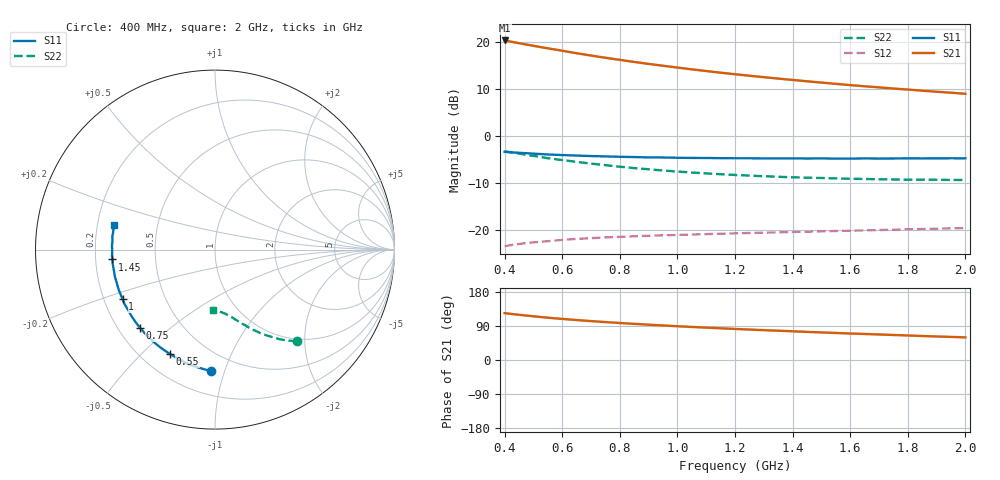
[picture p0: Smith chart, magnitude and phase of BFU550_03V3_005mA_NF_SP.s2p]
! Filename:  P:\Prog\Test\Noise\ATS_data\Testdata_Net\06 Compressed Noise after Statistics\BFU550_APG2013_43_D05_03p3V_005mA_NF_CM01_D.sf
! Date/Time: Fri 26/Apr/2013 13:07:20
! BFU550_APG2013_43_D05_03p3V_1to35mA_NF_CM01_Bias4_R.sf
! Noise Parameter Data File
! BFU550_APG2013_43_D05_03p3V_1to35mA_NF_CM01
! Date/time: Thu Apr 25 15:07:57 2013
! VAR V_out= 3.301000
! VAR I_out= 4.995000
! VAR V_in= 0.816900
! VAR I_in= 0.055105
! Device data file deembeded for feedlines and parallel
! Original file: \06 Compressed Noise after Statistics\BFU550_APG2013_43_D05_03p3V_005mA_NF_CM01_R.sf
! Feed-files: PR047V01_250413_Feed1.s2p, PR047V01_250413_Feed2.s2p
! Parallel-file: PR047V01_250413_Par.s2p
# MHz S MA R 50
!  Freq-MHz  S11-mag  S11-arg  S21-mag  S21-arg  S12-mag  S12-arg  S22-mag  S22-arg
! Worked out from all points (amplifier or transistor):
!   37 points, 400 MHz to 2 GHz, reference 50 ohm
!   highest |S21| = 20.4 dB at 400 MHz (marker M1)
!   |S21| within 3 dB of that: start of sweep to 677.7 MHz
!   unconditionally stable (mu >= 1): nowhere
!   at 500 MHz: K = 0.31, MSG = 21.0 dB, |S12| = -22.7 dB
!   at 1.1 GHz: K = 0.62, MSG = 17.4 dB, |S12| = -21.0 dB
!   at 2 GHz: K = 0.97, MSG = 14.3 dB, |S12| = -19.7 dB
!   lowest NFmin = 0.59 dB at 440 MHz
!   S11 on the Smith chart (normalised r, x): 400 MHz: 0.36, -0.90; 550 MHz: 0.31, -0.61; 750 MHz: 0.29, -0.40; 1 GHz: 0.28, -0.23; 1.45 GHz: 0.27, -0.04; 2 GHz: 0.27, +0.11
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400  0.6762 -92.0  10.46 123.6  0.06647 47.2  0.6848 -48.0
433  0.6653 -97.1  10 120.7  0.06897 45.4  0.6593 -50.3
460  0.6575 -101.1  9.654 118.5  0.0708 43.9  0.6406 -52.1
500  0.6468 -106.7  9.171 115.4  0.07307 42.1  0.612 -54.5
550  0.6336 -113.3  8.619 111.6  0.07517 40.2  0.5785 -57.1
600  0.6248 -119.0  8.122 108.4  0.07752 38.6  0.5522 -59.5
650  0.617 -124.2  7.644 105.4  0.07948 37.2  0.5284 -61.6
700  0.6098 -128.9  7.219 102.7  0.08089 36.1  0.5063 -63.5
750  0.6043 -133.6  6.836 100.1  0.08249 35.1  0.4874 -65.2
800  0.5989 -137.7  6.491 97.6  0.08364 34.3  0.4692 -66.9
850  0.5947 -141.5  6.169 95.3  0.08476 33.6  0.4532 -68.3
900  0.5893 -145.3  5.878 93.1  0.0859 33.0  0.4403 -69.8
950  0.5885 -148.6  5.617 91.1  0.08676 32.6  0.4273 -71.2
1000  0.5845 -151.7  5.371 89.1  0.08771 32.2  0.4165 -72.4
1050  0.582 -154.9  5.142 87.2  0.08847 31.9  0.4066 -73.7
1200  0.5774 -163.1  4.559 81.9  0.09101 31.4  0.3831 -77.0
1300  0.5752 -167.8  4.239 78.8  0.09258 31.3  0.3712 -79.0
1450  0.5738 -174.5  3.833 74.2  0.09492 31.4  0.3584 -81.9
1500  0.575 -176.4  3.712 72.7  0.0957 31.5  0.3553 -82.9
1600  0.5729 179.5  3.487 69.9  0.09712 31.7  0.3492 -84.8
1750  0.574 174.2  3.207 66.0  0.09956 32.2  0.3427 -87.6
2000  0.577 166.3  2.819 59.7  0.1037 33.3  0.3383 -92.0
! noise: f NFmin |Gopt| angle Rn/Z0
400  0.6555  0.1782  39.01  0.1079
460  0.5902  0.1578  58.82  0.0952
600  0.6386  0.1675  69.05  0.0937
800  0.6797  0.1919  87.25  0.0912
1000  0.728  0.2141  102  0.0871
1200  0.7745  0.2421  118.9  0.0786
1400  0.8089  0.289  128.3  0.0737
1600  0.8456  0.2981  140.8  0.0695
1800  0.791  0.3689  157.1  0.0497
2000  0.9482  0.3845  168.6  0.0488
